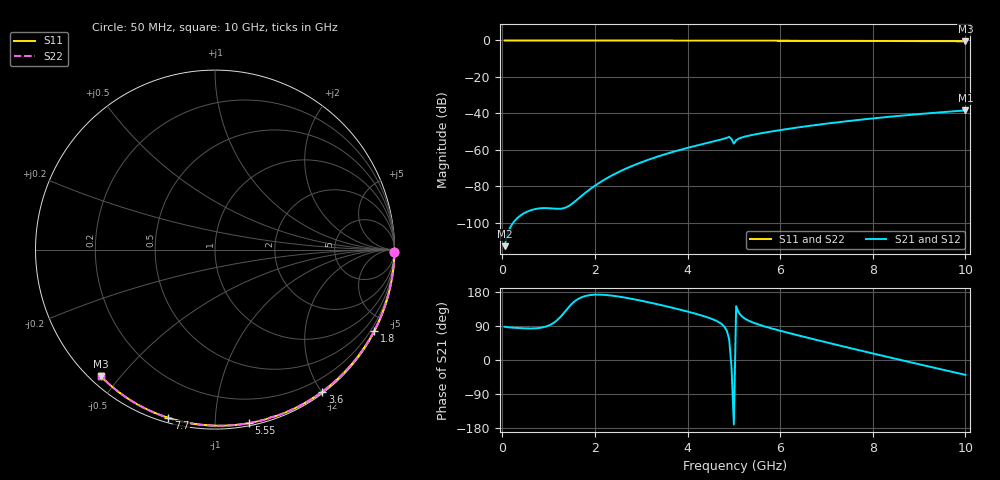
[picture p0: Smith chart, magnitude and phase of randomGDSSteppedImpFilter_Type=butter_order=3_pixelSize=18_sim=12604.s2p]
! freq	dB(S11)	phase(S11)	dB(S12)	phase(S12)
!  dB(S21)	phase(S21)	dB(S22)	phase(S22)
!S-par simulation data
#  GHz  S  DB  R 50
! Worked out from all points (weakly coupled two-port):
!   200 points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, 50 MHz to 10 GHz, reference 50 ohm
!   highest |S21| = -38.36 dB at 10 GHz (marker M1); lowest = -112.8 dB at 50 MHz (marker M2)
!   lowest |S11| = -0.4 dB at 10 GHz (marker M3), VSWR 38.85, Z = 1.54 - j22.2 ohm
!   |S11| at or under -10 dB: nowhere
!   |S22| runs from -0.4 to 0.0 dB; largest |S21 - S12| = 0
!   S11 on the Smith chart (normalised r, x): 50 MHz: open; 1.8 GHz: 0.04, -4.15; 3.6 GHz: 0.02, -2.01; 5.55 GHz: 0.02, -1.21; 7.7 GHz: 0.02, -0.76; 10 GHz: 0.03, -0.44
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0.05  -0.00 -0.8  -112.83 87.8  -112.83 87.8  -0.00 -0.8
0.9  -0.02 -13.7  -91.96 86.9  -91.96 86.9  -0.02 -13.7
1.75  -0.03 -26.3  -84.45 167.2  -84.45 167.2  -0.03 -26.3
1.8  -0.03 -27.1  -83.42 169.0  -83.42 169.0  -0.03 -27.1
1.95  -0.04 -29.3  -80.54 172.0  -80.54 172.0  -0.04 -29.3
2  -0.04 -30.0  -79.66 172.4  -79.66 172.4  -0.04 -30.0
2.35  -0.05 -35.1  -74.25 170.1  -74.25 170.1  -0.04 -35.1
2.65  -0.05 -39.5  -70.51 164.6  -70.51 164.6  -0.05 -39.5
3  -0.06 -44.5  -66.85 156.4  -66.85 156.4  -0.06 -44.5
3.4  -0.07 -50.1  -63.32 145.7  -63.32 145.7  -0.07 -50.1
3.6  -0.07 -52.9  -61.75 140.0  -61.75 140.0  -0.07 -52.9
4.9  -0.11 -70.7  -52.90 54.1  -52.90 54.1  -0.11 -70.7
4.95  -0.14 -71.3  -54.10 -19.6  -54.10 -19.6  -0.14 -71.3
5  -0.13 -71.8  -56.57 -170.2  -56.57 -170.2  -0.13 -71.8
5.05  -0.12 -72.5  -54.74 142.5  -54.74 142.5  -0.12 -72.5
5.1  -0.12 -73.1  -53.90 126.3  -53.90 126.3  -0.12 -73.1
5.2  -0.12 -74.5  -52.99 112.3  -52.99 112.3  -0.12 -74.5
5.55  -0.13 -79.0  -51.08 93.0  -51.08 93.0  -0.13 -79.0
6.7  -0.18 -93.5  -46.60 55.5  -46.60 55.5  -0.18 -93.5
7.7  -0.24 -105.5  -43.56 25.9  -43.56 25.9  -0.24 -105.5
8.35  -0.29 -113.2  -41.88 7.2  -41.88 7.2  -0.29 -113.1
10  -0.45 -132.0  -38.36 -39.3  -38.36 -39.3  -0.45 -132.0
